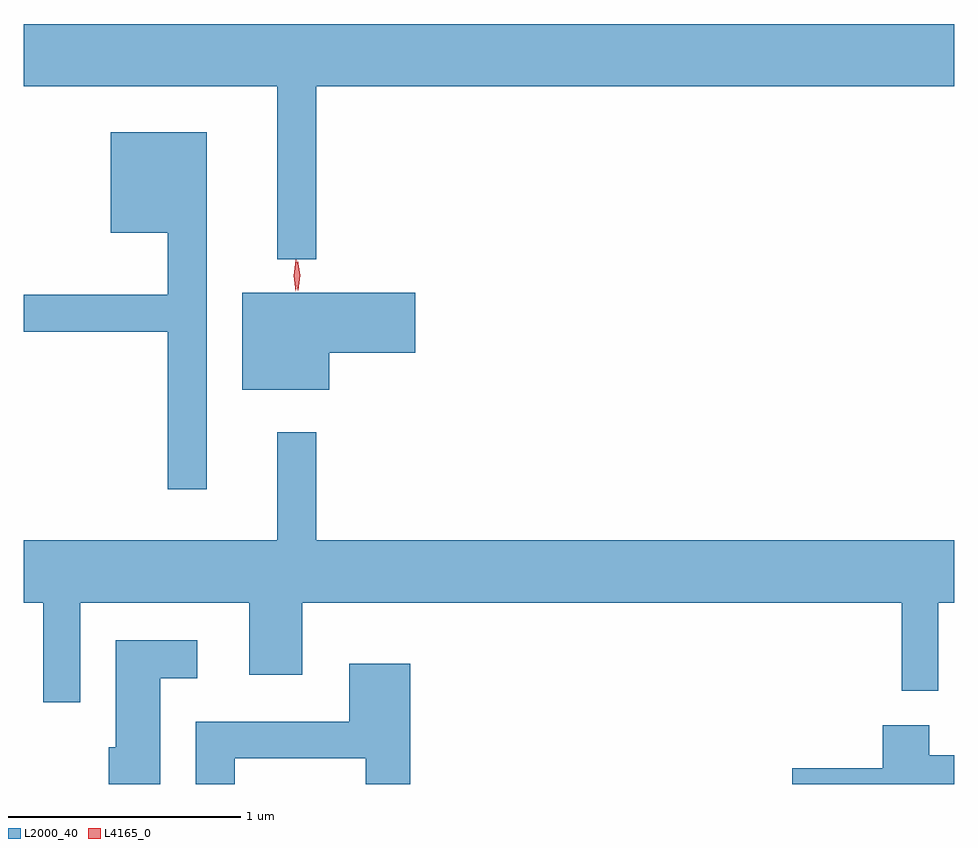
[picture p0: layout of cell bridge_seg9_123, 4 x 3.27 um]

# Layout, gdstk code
import gdstk
lib = gdstk.Library(unit=1e-6, precision=1e-09)
def P(c, l, *ps):  # polygons
    for p in ps: c.add(gdstk.Polygon(p, *l))
L2000_40 = (2000, 40)
L4165_0 = (4165, 0)

bridge_seg9_123 = lib.new_cell('bridge_seg9_123')
P(bridge_seg9_123, L2000_40, [(1317.299,2038.436),(1320.042,2038.436),(1320.042,2038.704),(1316.042,2038.704),(1316.042,2038.436),(1317.131,2038.436),(1317.131,2037.693),(1317.299,2037.693)],
  [(1316.829,2038.239),(1316.416,2038.239),(1316.416,2037.806),(1316.661,2037.806),(1316.661,2037.539),(1316.042,2037.539),(1316.042,2037.381),(1316.661,2037.381),(1316.661,2036.703),(1316.829,2036.703)],
  [(1317.354,2037.291),(1317.724,2037.291),(1317.724,2037.549),(1316.981,2037.549),(1316.981,2037.131),(1317.354,2037.131)],
  [(1316.284,2036.216),(1317.011,2036.216),(1317.011,2035.906),(1317.239,2035.906),(1317.239,2036.216),(1319.816,2036.216),(1319.816,2035.838),(1319.974,2035.838),(1319.974,2036.216),(1320.042,2036.216),(1320.042,2036.484),(1317.299,2036.484),(1317.299,2036.948),(1317.131,2036.948),(1317.131,2036.484),(1316.042,2036.484),(1316.042,2036.216),(1316.126,2036.216),(1316.126,2035.788),(1316.284,2035.788)],
  [(1316.629,2035.891),(1316.788,2035.891),(1316.788,2036.054),(1316.436,2036.054),(1316.436,2035.594),(1316.406,2035.594),(1316.406,2035.436),(1316.629,2035.436)],
  [(1316.949,2035.546),(1317.511,2035.546),(1317.511,2035.436),(1317.704,2035.436),(1317.704,2035.954),(1317.441,2035.954),(1317.441,2035.704),(1316.781,2035.704),(1316.781,2035.436),(1316.949,2035.436)],
  [(1320.042,2035.559),(1319.934,2035.559),(1319.934,2035.689),(1319.736,2035.689),(1319.736,2035.504),(1319.346,2035.504),(1319.346,2035.436),(1320.042,2035.436)])
P(bridge_seg9_123, L4165_0, [(1317.21,2037.554),(1317.202,2037.622),(1317.212,2037.69),(1317.212,2037.69),(1317.213,2037.69),(1317.222,2037.622),(1317.211,2037.554),(1317.211,2037.554)],
  [(1317.22,2037.56),(1317.22,2037.56),(1317.21,2037.624),(1317.219,2037.686),(1317.22,2037.687),(1317.22,2037.686),(1317.23,2037.624),(1317.221,2037.56)])

lib.write_gds('bridge_seg9_123.gds')
